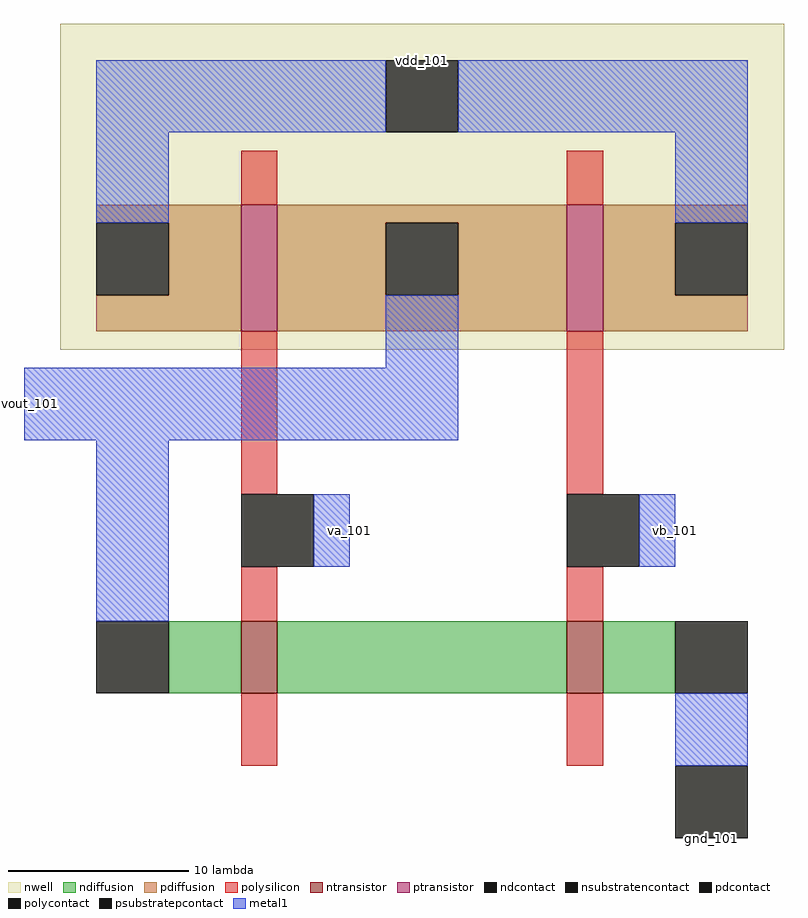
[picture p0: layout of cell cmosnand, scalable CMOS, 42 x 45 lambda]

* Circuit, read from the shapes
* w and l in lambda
.subckt cmosnand gnd_101 va_101 vb_101 vdd_101 vout_101
M1 n1 va_101 vout_101 gnd_101 nfet w=4 l=2
M2 gnd_101 vb_101 n1 gnd_101 nfet w=4 l=2
M3 vout_101 va_101 vdd_101 vdd_101 pfet w=7 l=2
M4 vdd_101 vb_101 vout_101 vdd_101 pfet w=7 l=2
.ends

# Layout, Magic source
magic
tech scmos
<< nwell >>
rect -22 2 18 20
<< polysilicon >>
rect -12 10 -10 13
rect 6 10 8 13
rect -12 -6 -10 3
rect 6 -6 8 3
rect -12 -13 -10 -10
rect 6 -13 8 -10
rect -12 -21 -10 -17
rect 6 -21 8 -17
<< ndiffusion >>
rect -16 -17 -12 -13
rect -10 -17 6 -13
rect 8 -17 12 -13
<< pdiffusion >>
rect -20 9 -12 10
rect -16 5 -12 9
rect -20 3 -12 5
rect -10 9 6 10
rect -10 5 -4 9
rect 0 5 6 9
rect -10 3 6 5
rect 8 9 16 10
rect 8 5 12 9
rect 8 3 16 5
<< metal1 >>
rect -20 14 -4 18
rect 0 14 16 18
rect -20 9 -16 14
rect 12 9 16 14
rect -4 1 0 5
rect -24 -3 0 1
rect -20 -13 -16 -3
rect -8 -10 -6 -6
rect 10 -10 12 -6
rect 12 -21 16 -17
<< ntransistor >>
rect -12 -17 -10 -13
rect 6 -17 8 -13
<< ptransistor >>
rect -12 3 -10 10
rect 6 3 8 10
<< polycontact >>
rect -12 -10 -8 -6
rect 6 -10 10 -6
<< ndcontact >>
rect -20 -17 -16 -13
rect 12 -17 16 -13
<< pdcontact >>
rect -20 5 -16 9
rect -4 5 0 9
rect 12 5 16 9
<< psubstratepcontact >>
rect 12 -25 16 -21
<< nsubstratencontact >>
rect -4 14 0 18
<< labels >>
rlabel psubstratepcontact 12 -25 16 -25 8 gnd_101
rlabel metal1 -24 -3 -24 1 3 vout_101
rlabel nsubstratencontact -4 18 0 18 5 vdd_101
rlabel metal1 12 -10 12 -6 1 vb_101
rlabel metal1 -6 -10 -6 -6 1 va_101
<< end >>
